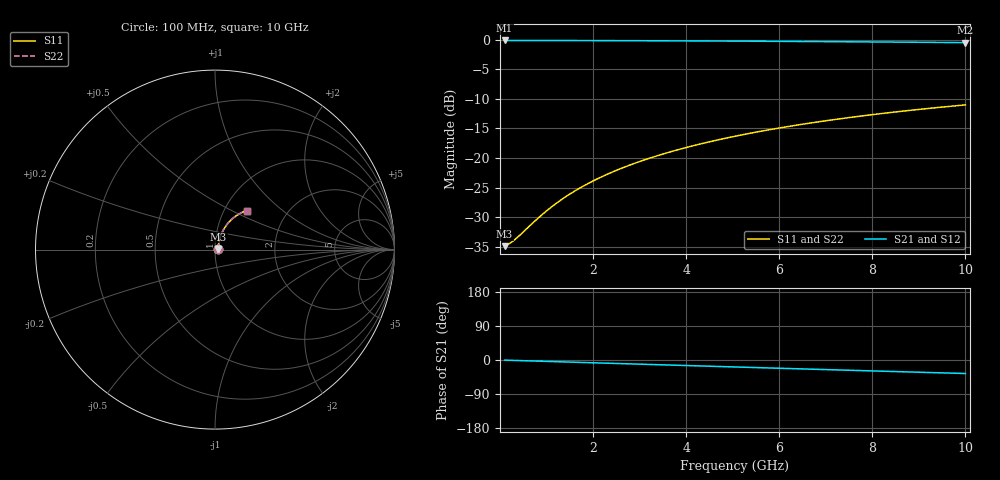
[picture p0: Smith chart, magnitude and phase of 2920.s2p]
# Hz S RI R 50.00
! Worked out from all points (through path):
!   100 points, 100 MHz to 10 GHz, reference 50 ohm
!   highest |S21| = -0.16 dB at 100 MHz (marker M1); lowest = -0.5 dB at 10 GHz (marker M2)
!   group delay of S21, straight-line fit = 9.93 ps
!   lowest |S11| = -34.9 dB at 100 MHz (marker M3), VSWR 1.04, Z = 51.8 + j0.308 ohm
!   |S11| at or under -10 dB: start of sweep to end of sweep
!   |S22| runs from -34.9 to -11.0 dB; largest |S21 - S12| = 0
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1e8  0.0178 0.00297  0.9822 -0.00629  0.9822 -0.00629  0.0178 0.00297
2e8  0.018 0.00593  0.982 -0.0126  0.982 -0.0126  0.018 0.00593
3e8  0.0182 0.0089  0.9818 -0.0189  0.9818 -0.0189  0.0182 0.0089
4e8  0.0184 0.0119  0.9815 -0.0251  0.9815 -0.0251  0.0184 0.0119
8e8  0.0195 0.0237  0.9801 -0.0502  0.9801 -0.0502  0.0195 0.0237
1.1e9  0.0207 0.0325  0.9786 -0.069  0.9786 -0.069  0.0207 0.0325
1.4e9  0.0222 0.0412  0.9767 -0.0877  0.9767 -0.0877  0.0222 0.0412
1.6e9  0.0234 0.047  0.9752 -0.1001  0.9752 -0.1001  0.0234 0.047
1.8e9  0.0247 0.0528  0.9734 -0.1125  0.9734 -0.1125  0.0247 0.0528
2.1e9  0.027 0.0613  0.9705 -0.131  0.9705 -0.131  0.027 0.0613
2.5e9  0.0305 0.0726  0.966 -0.1556  0.966 -0.1556  0.0305 0.0726
2.9e9  0.0346 0.0836  0.9607 -0.1799  0.9607 -0.1799  0.0346 0.0836
3.4e9  0.0404 0.0971  0.9531 -0.2099  0.9531 -0.2099  0.0404 0.0971
3.8e9  0.0457 0.1075  0.9462 -0.2336  0.9462 -0.2336  0.0457 0.1075
4.2e9  0.0515 0.1177  0.9386 -0.2571  0.9386 -0.2571  0.0515 0.1177
4.6e9  0.0577 0.1275  0.9303 -0.2801  0.9303 -0.2801  0.0577 0.1275
5.1e9  0.0662 0.1392  0.9191 -0.3085  0.9191 -0.3085  0.0662 0.1392
5.9e9  0.0812 0.1568  0.8991 -0.3526  0.8991 -0.3526  0.0812 0.1568
6.7e9  0.0977 0.1726  0.8769 -0.3949  0.8769 -0.3949  0.0977 0.1726
7.5e9  0.1156 0.1866  0.8525 -0.4354  0.8525 -0.4354  0.1156 0.1866
8.4e9  0.137 0.2  0.8228 -0.4787  0.8228 -0.4787  0.137 0.2
1e10  0.1776 0.2176  0.7651 -0.5492  0.7651 -0.5492  0.1776 0.2176
